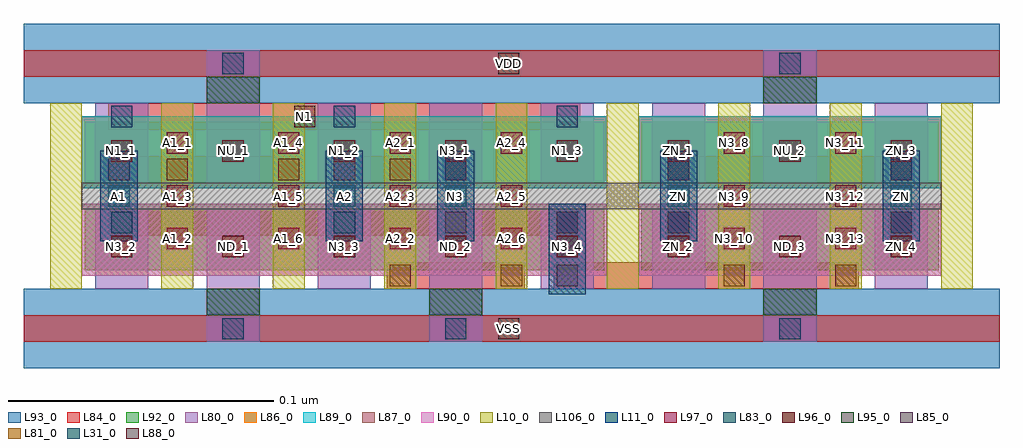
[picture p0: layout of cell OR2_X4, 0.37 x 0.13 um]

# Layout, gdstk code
import gdstk
lib = gdstk.Library(unit=1e-6, precision=1e-09)
def R(c, l, rs):  # rectangles x0, y0, x1, y1
    for r in rs: c.add(gdstk.rectangle(r[:2], r[2:], *l))
def A(c, l, x, y, w, h, nx, ny, dx, dy):  # array of equal rectangles
    R(c, l, [(x+i*dx, y+j*dy, x+i*dx+w, y+j*dy+h) for i in range(nx) for j in range(ny)])
L10_0 = (10, 0)
L11_0 = (11, 0)
L31_0 = (31, 0)
L80_0 = (80, 0)
L81_0 = (81, 0)
L83_0 = (83, 0)
L84_0 = (84, 0)
L85_0 = (85, 0)
L86_0 = (86, 0)
L87_0 = (87, 0)
L88_0 = (88, 0)
L89_0 = (89, 0)
L90_0 = (90, 0)
L92_0 = (92, 0)
L93_0 = (93, 0)
L95_0 = (95, 0)
L96_0 = (96, 0)
L97_0 = (97, 0)
L106_0 = (106, 0)

or2_x4 = lib.new_cell('OR2_X4')
A(or2_x4, L10_0, -0.027, 0.015, 0.012, 0.07, 9, 1, 0.042, 0)
A(or2_x4, L11_0, 0.119, 0.033, 0.014, 0.034, 3, 1, 0.084, 0)
R(or2_x4, L11_0, [(0.161,0.013,0.175,0.047), (-0.008,0.033,0.006,0.067), (0.077,0.033,0.091,0.067)])
A(or2_x4, L31_0, 0.122, 0.046, 0.008, 0.008, 3, 1, 0.084, 0)
R(or2_x4, L31_0, [(-0.005,0.046,0.003,0.054), (0.08,0.046,0.088,0.054)])
A(or2_x4, L80_0, -0.01, 0.015, 0.02, 0.03, 8, 2, 0.042, 0.04)
R(or2_x4, L80_0, [(0.032,-0.005,0.052,0.025), (0.116,-0.005,0.136,0.025), (0.242,-0.005,0.262,0.025), (0.032,0.075,0.052,0.105), (0.242,0.075,0.262,0.105)])
A(or2_x4, L81_0, 0.017, 0.056, 0.008, 0.008, 3, 1, 0.042, 0)
R(or2_x4, L81_0, [(0.101,0.016,0.109,0.024), (0.143,0.016,0.151,0.024), (0.227,0.016,0.235,0.024), (0.269,0.016,0.277,0.024)])
A(or2_x4, L83_0, -0.004, 0.036, 0.008, 0.008, 3, 2, 0.084, 0.04)
A(or2_x4, L83_0, 0.122, 0.056, 0.008, 0.008, 3, 1, 0.084, 0)
R(or2_x4, L83_0, [(0.038,-0.004,0.046,0.004), (0.122,-0.004,0.13,0.004), (0.248,-0.004,0.256,0.004), (0.164,0.036,0.172,0.044), (0.206,0.036,0.214,0.044), (0.29,0.036,0.298,0.044), (0.038,0.096,0.046,0.104), (0.248,0.096,0.256,0.104)])
A(or2_x4, L84_0, 0.163, 0.015, 0.031, 0.01, 5, 1, 0.021, 0)
A(or2_x4, L84_0, -0.005, 0.035, 0.031, 0.01, 8, 2, 0.021, 0.04)
A(or2_x4, L84_0, 0.205, 0.055, 0.031, 0.01, 4, 1, 0.021, 0)
R(or2_x4, L84_0, [(-0.037,-0.005,0.331,0.005), (0.1,0.015,0.131,0.025), (0.121,0.015,0.152,0.025), (0.163,0.035,0.173,0.045), (0.205,0.035,0.215,0.045), (0.289,0.035,0.299,0.045), (-0.007,0.055,0.024,0.065), (0.016,0.055,0.047,0.065), (0.037,0.055,0.068,0.065), (0.079,0.055,0.11,0.065), (0.121,0.055,0.131,0.065), (-0.037,0.095,0.331,0.105)])
A(or2_x4, L85_0, 0.122, 0.036, 0.008, 0.008, 3, 1, 0.042, 0)
A(or2_x4, L85_0, 0.122, 0.056, 0.008, 0.008, 3, 1, 0.084, 0)
R(or2_x4, L85_0, [(0.164,0.016,0.172,0.024), (0.29,0.036,0.298,0.044), (-0.005,0.056,0.003,0.064), (0.08,0.056,0.088,0.064)])
R(or2_x4, L86_0, [(-0.015,0.053,0.183,0.08), (0.195,0.053,0.309,0.08)])
R(or2_x4, L87_0, [(-0.015,0.02,0.183,0.047), (0.195,0.02,0.309,0.047)])
R(or2_x4, L88_0, [(0.142,-0.004,0.15,0.004), (0.065,0.076,0.073,0.084), (0.142,0.096,0.15,0.104)])
R(or2_x4, L89_0, [(-0.015,0.053,0.183,0.08), (0.195,0.053,0.309,0.08)])
R(or2_x4, L90_0, [(-0.015,0.02,0.183,0.047), (0.195,0.02,0.309,0.047)])
R(or2_x4, L92_0, [(-0.014,0.022,0.182,0.045), (0.196,0.022,0.308,0.045), (-0.014,0.055,0.182,0.078), (0.196,0.055,0.308,0.078)])
R(or2_x4, L93_0, [(-0.037,-0.015,0.331,0.015), (-0.037,0.085,0.331,0.115)])
R(or2_x4, L95_0, [(0.032,0.005,0.052,0.015), (0.116,0.005,0.136,0.015), (0.242,0.005,0.262,0.015), (0.032,0.085,0.052,0.095), (0.242,0.085,0.262,0.095)])
A(or2_x4, L96_0, -0.004, 0.027, 0.008, 0.008, 8, 2, 0.042, 0.036)
A(or2_x4, L97_0, 0.017, 0.03, 0.008, 0.008, 4, 2, 0.042, 0.016)
A(or2_x4, L97_0, 0.017, 0.066, 0.008, 0.008, 4, 1, 0.042, 0)
R(or2_x4, L97_0, [(0.227,0.03,0.235,0.038), (0.269,0.03,0.277,0.038), (0.227,0.046,0.235,0.054), (0.269,0.046,0.277,0.054), (0.227,0.066,0.235,0.074), (0.269,0.066,0.277,0.074)])
R(or2_x4, L106_0, [(-0.015,0.045,0.309,0.055)])
or2_x4.add(gdstk.Label('N1', (0.069,0.08), layer=88, texttype=0))
or2_x4.add(gdstk.Label('VDD', (0.146,0.1), layer=88, texttype=0))
or2_x4.add(gdstk.Label('VSS', (0.146,0), layer=88, texttype=0))
or2_x4.add(gdstk.Label('ZN_4', (0.294,0.031), layer=96, texttype=0))
or2_x4.add(gdstk.Label('ZN_3', (0.294,0.067), layer=96, texttype=0))
or2_x4.add(gdstk.Label('ND_3', (0.252,0.031), layer=96, texttype=0))
or2_x4.add(gdstk.Label('NU_2', (0.252,0.067), layer=96, texttype=0))
or2_x4.add(gdstk.Label('ZN_1', (0.21,0.067), layer=96, texttype=0))
or2_x4.add(gdstk.Label('ZN_2', (0.21,0.031), layer=96, texttype=0))
or2_x4.add(gdstk.Label('N1_3', (0.168,0.067), layer=96, texttype=0))
or2_x4.add(gdstk.Label('N3_4', (0.168,0.031), layer=96, texttype=0))
or2_x4.add(gdstk.Label('ND_2', (0.126,0.031), layer=96, texttype=0))
or2_x4.add(gdstk.Label('N3_1', (0.126,0.067), layer=96, texttype=0))
or2_x4.add(gdstk.Label('N3_3', (0.084,0.031), layer=96, texttype=0))
or2_x4.add(gdstk.Label('N1_2', (0.084,0.067), layer=96, texttype=0))
or2_x4.add(gdstk.Label('NU_1', (0.042,0.067), layer=96, texttype=0))
or2_x4.add(gdstk.Label('ND_1', (0.042,0.031), layer=96, texttype=0))
or2_x4.add(gdstk.Label('N1_1', (0,0.067), layer=96, texttype=0))
or2_x4.add(gdstk.Label('N3_2', (0,0.031), layer=96, texttype=0))
or2_x4.add(gdstk.Label('N3_11', (0.273,0.07), layer=97, texttype=0))
or2_x4.add(gdstk.Label('N3_13', (0.273,0.034), layer=97, texttype=0))
or2_x4.add(gdstk.Label('N3_12', (0.273,0.05), layer=97, texttype=0))
or2_x4.add(gdstk.Label('N3_9', (0.231,0.05), layer=97, texttype=0))
or2_x4.add(gdstk.Label('N3_10', (0.231,0.034), layer=97, texttype=0))
or2_x4.add(gdstk.Label('N3_8', (0.231,0.07), layer=97, texttype=0))
or2_x4.add(gdstk.Label('A2_4', (0.147,0.07), layer=97, texttype=0))
or2_x4.add(gdstk.Label('A2_6', (0.147,0.034), layer=97, texttype=0))
or2_x4.add(gdstk.Label('A2_5', (0.147,0.05), layer=97, texttype=0))
or2_x4.add(gdstk.Label('A2_1', (0.105,0.07), layer=97, texttype=0))
or2_x4.add(gdstk.Label('A2_2', (0.105,0.034), layer=97, texttype=0))
or2_x4.add(gdstk.Label('A2_3', (0.105,0.05), layer=97, texttype=0))
or2_x4.add(gdstk.Label('A1_5', (0.063,0.05), layer=97, texttype=0))
or2_x4.add(gdstk.Label('A1_6', (0.063,0.034), layer=97, texttype=0))
or2_x4.add(gdstk.Label('A1_4', (0.063,0.07), layer=97, texttype=0))
or2_x4.add(gdstk.Label('A1_3', (0.021,0.05), layer=97, texttype=0))
or2_x4.add(gdstk.Label('A1_2', (0.021,0.034), layer=97, texttype=0))
or2_x4.add(gdstk.Label('A1_1', (0.021,0.07), layer=97, texttype=0))
or2_x4.add(gdstk.Label('ZN', (0.294,0.05), layer=31, texttype=0))
or2_x4.add(gdstk.Label('ZN', (0.21,0.05), layer=31, texttype=0))
or2_x4.add(gdstk.Label('N3', (0.126,0.05), layer=31, texttype=0))
or2_x4.add(gdstk.Label('A2', (0.084,0.05), layer=31, texttype=0))
or2_x4.add(gdstk.Label('A1', (-0.001,0.05), layer=31, texttype=0))

lib.write_gds('OR2_X4.gds')
